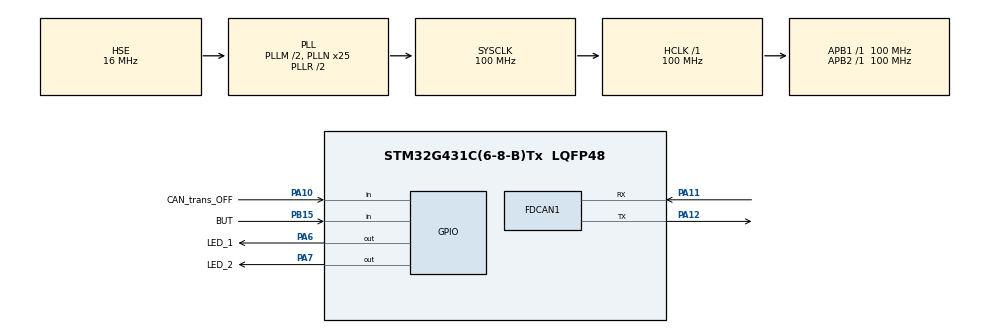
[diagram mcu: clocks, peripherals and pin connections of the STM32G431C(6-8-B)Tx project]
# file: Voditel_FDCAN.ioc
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FDCAN1.AutoRetransmission=ENABLE
FDCAN1.CalculateBaudRateNominal=500000
FDCAN1.CalculateTimeBitNominal=2000
FDCAN1.CalculateTimeQuantumNominal=20.0
FDCAN1.DataPrescaler=5
FDCAN1.DataSyncJumpWidth=2
FDCAN1.DataTimeSeg1=17
FDCAN1.DataTimeSeg2=2
FDCAN1.FrameFormat=FDCAN_FRAME_FD_NO_BRS
FDCAN1.NominalPrescaler=1
FDCAN1.NominalSyncJumpWidth=13
FDCAN1.NominalTimeSeg1=86
FDCAN1.NominalTimeSeg2=13
FDCAN1.StdFiltersNbr=1
FDCAN1.TxFifoQueueMode=FDCAN_TX_FIFO_OPERATION
Mcu.Family=STM32G4
Mcu.Name=STM32G431C(6-8-B)Tx
Mcu.Package=LQFP48
NVIC.FDCAN1_IT0_IRQn=true\:0\:0\:false\:false\:true\:true\:true\:true
NVIC.PriorityGroup=NVIC_PRIORITYGROUP_4
PA10.GPIO_Label=CAN_trans_OFF
PA10.GPIO_PuPd=GPIO_PULLDOWN
PA10.Signal=GPIO_Input
PA11.Mode=FDCAN_Activate
PA11.Signal=FDCAN1_RX
PA12.Mode=FDCAN_Activate
PA12.Signal=FDCAN1_TX
PA13.Mode=Serial_Wire
PA13.Signal=SYS_JTMS-SWDIO
PA14.Mode=Serial_Wire
PA14.Signal=SYS_JTCK-SWCLK
PA6.GPIO_Label=LED_1
PA6.Signal=GPIO_Output
PA7.GPIO_Label=LED_2
PA7.Signal=GPIO_Output
PB15.GPIO_Label=BUT
PB15.Signal=GPIO_Input
PF0-OSC_IN.Mode=HSE-External-Oscillator
PF0-OSC_IN.Signal=RCC_OSC_IN
PF1-OSC_OUT.Mode=HSE-External-Oscillator
PF1-OSC_OUT.Signal=RCC_OSC_OUT
ProjectManager.HeapSize=0x200
ProjectManager.StackSize=0x400
ProjectManager.TargetToolchain=STM32CubeIDE
RCC.ADC12Freq_Value=100000000
RCC.AHBFreq_Value=100000000
RCC.APB1Freq_Value=100000000
RCC.APB1TimFreq_Value=100000000
RCC.APB2Freq_Value=100000000
RCC.APB2TimFreq_Value=100000000
RCC.CortexFreq_Value=100000000
RCC.EXTERNAL_CLOCK_VALUE=12288000
RCC.FDCANCLockSelection=RCC_FDCANCLKSOURCE_PLL
RCC.HCLKFreq_Value=100000000
RCC.HSE_VALUE=16000000
RCC.HSI48_VALUE=48000000
RCC.HSI_VALUE=16000000
RCC.LSE_VALUE=32768
RCC.PLLM=RCC_PLLM_DIV2
RCC.PLLN=25
RCC.PLLQ=RCC_PLLQ_DIV4
RCC.PLLSourceVirtual=RCC_PLLSOURCE_HSE
RCC.SYSCLKFreq_VALUE=100000000
RCC.SYSCLKSource=RCC_SYSCLKSOURCE_PLLCLK
RCC.USBFreq_Value=50000000
RCC.VCOOutputFreq_Value=200000000
board=custom

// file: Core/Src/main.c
/* USER CODE BEGIN Header */
/**
  ******************************************************************************
  * @file           : main.c
  * @brief          : Main program body
  ******************************************************************************
  * @attention
  *
  * Copyright (c) 2024 STMicroelectronics.
  * All rights reserved.
  *
  * This software is licensed under terms that can be found in the LICENSE file
  * in the root directory of this software component.
  * If no LICENSE file comes with this software, it is provided AS-IS.
  *
  ******************************************************************************
  */
/* USER CODE END Header */
#include "main.h"

/* USER CODE BEGIN Includes */
#include "stdio.h"
/* USER CODE END Includes */

FDCAN_HandleTypeDef hfdcan1;

/* USER CODE BEGIN PV */

FDCAN_FilterTypeDef sFilterConfig;

FDCAN_TxHeaderTypeDef TxHeader;
FDCAN_RxHeaderTypeDef RxHeader;

uint8_t TxData_VODIL[] = {0x01, 0x03, 0x03, 0x03, 0x03, 0x03, 0x03, 0x03, 0x03};
uint8_t RxData_VODIL[8];

uint8_t errors_in_AddMessageToTx_VODIL = 0;

int indx = 0;

/* USER CODE END PV */

void SystemClock_Config(void);
static void MX_GPIO_Init(void);
static void MX_FDCAN1_Init(void);

/* USER CODE BEGIN 0 */

void HAL_FDCAN_RxFifo0Callback(FDCAN_HandleTypeDef *hfdcan, uint32_t RxFifo0ITs)
{
	if((RxFifo0ITs & FDCAN_IT_RX_FIFO0_NEW_MESSAGE) != RESET)
	{
		if(HAL_FDCAN_GetRxMessage(&hfdcan1, FDCAN_RX_FIFO0, &RxHeader, RxData_VODIL) != HAL_OK)
		{
					Error_Handler();
		}
		if(HAL_FDCAN_ActivateNotification(&hfdcan1, FDCAN_IT_RX_FIFO0_NEW_MESSAGE, 0) != HAL_OK)
		{
			Error_Handler();
		}

		HAL_GPIO_WritePin(LED_2_GPIO_Port, LED_2_Pin, 1);

		// только у пасажира
	 /* sprintf ((char *)TxData_VODIL, "FDCAN2TX  %d", indx++);

	  if(HAL_FDCAN_AddMessageToTxFifoQ(&hfdcan1, &TxHeader, TxData_VODIL) != HAL_OK)
	  {
		  Error_Handler();
	  }*/
	}

}
/* USER CODE END 0 */

int main(void)
{

  /* MCU Configuration--------------------------------------------------------*/

  /* Reset of all peripherals, Initializes the Flash interface and the Systick. */
  HAL_Init();

  /* Configure the system clock */
  SystemClock_Config();

  /* Initialize all configured peripherals */
  MX_GPIO_Init();
  MX_FDCAN1_Init();
  /* USER CODE BEGIN 2 */

  if(HAL_FDCAN_Start(&hfdcan1) != HAL_OK)
  {
	   Error_Handler();
  }

  if(HAL_FDCAN_ActivateNotification(&hfdcan1, FDCAN_IT_RX_FIFO0_NEW_MESSAGE, 0) != HAL_OK)
  {
	  Error_Handler();
  }

  TxHeader.Identifier = 0x11; //как я понял этот фильтр должен быть у втрой платы в sFilterConfig
  TxHeader.IdType = FDCAN_STANDARD_ID;
  TxHeader.TxFrameType = FDCAN_DATA_FRAME;
  TxHeader.DataLength = FDCAN_DLC_BYTES_8;
  TxHeader.ErrorStateIndicator = FDCAN_ESI_ACTIVE;
  TxHeader.BitRateSwitch = FDCAN_BRS_OFF;
  TxHeader.FDFormat = FDCAN_FD_CAN;
  TxHeader.TxEventFifoControl = FDCAN_NO_TX_EVENTS;
  TxHeader.MessageMarker = 0;

  if(HAL_FDCAN_AddMessageToTxFifoQ(&hfdcan1, &TxHeader, TxData_VODIL) != HAL_OK)
  {

	  errors_in_AddMessageToTx_VODIL ++;
	  //HAL_GPIO_WritePin(LED_2_GPIO_Port, LED_2_Pin, 1);

  }

  /* USER CODE END 2 */

  /* Infinite loop */
  while (1)
  {

    /* USER CODE BEGIN 3 */

	 // HAL_GPIO_WritePin(LED_1_GPIO_Port, LED_1_Pin, 0);

	 // sprintf ((char *)TxData_VODIL, "12345 %d", indx++);

	 // HAL_FDCAN_AddMessageToTxFifoQ(&hfdcan1, &TxHeader, TxData_VODIL);

	  HAL_Delay (600);

	  HAL_GPIO_TogglePin(LED_1_GPIO_Port, LED_1_Pin);

  }
  /* USER CODE END 3 */
}

void SystemClock_Config(void)
{
  RCC_OscInitTypeDef RCC_OscInitStruct = {0};
  RCC_ClkInitTypeDef RCC_ClkInitStruct = {0};

  /** Configure the main internal regulator output voltage
  */
  HAL_PWREx_ControlVoltageScaling(PWR_REGULATOR_VOLTAGE_SCALE1);

  /** Initializes the RCC Oscillators according to the specified parameters
  * in the RCC_OscInitTypeDef structure.
  */
  RCC_OscInitStruct.OscillatorType = RCC_OSCILLATORTYPE_HSE;
  RCC_OscInitStruct.HSEState = RCC_HSE_ON;
  RCC_OscInitStruct.PLL.PLLState = RCC_PLL_ON;
  RCC_OscInitStruct.PLL.PLLSource = RCC_PLLSOURCE_HSE;
  RCC_OscInitStruct.PLL.PLLM = RCC_PLLM_DIV2;
  RCC_OscInitStruct.PLL.PLLN = 25;
  RCC_OscInitStruct.PLL.PLLP = RCC_PLLP_DIV2;
  RCC_OscInitStruct.PLL.PLLQ = RCC_PLLQ_DIV4;
  RCC_OscInitStruct.PLL.PLLR = RCC_PLLR_DIV2;
  if (HAL_RCC_OscConfig(&RCC_OscInitStruct) != HAL_OK)
  {
    Error_Handler();
  }

  /** Initializes the CPU, AHB and APB buses clocks
  */
  RCC_ClkInitStruct.ClockType = RCC_CLOCKTYPE_HCLK|RCC_CLOCKTYPE_SYSCLK
                              |RCC_CLOCKTYPE_PCLK1|RCC_CLOCKTYPE_PCLK2;
  RCC_ClkInitStruct.SYSCLKSource = RCC_SYSCLKSOURCE_PLLCLK;
  RCC_ClkInitStruct.AHBCLKDivider = RCC_SYSCLK_DIV1;
  RCC_ClkInitStruct.APB1CLKDivider = RCC_HCLK_DIV1;
  RCC_ClkInitStruct.APB2CLKDivider = RCC_HCLK_DIV1;

  if (HAL_RCC_ClockConfig(&RCC_ClkInitStruct, FLASH_LATENCY_3) != HAL_OK)
  {
    Error_Handler();
  }
}

static void MX_FDCAN1_Init(void)
{

  hfdcan1.Instance = FDCAN1;
  hfdcan1.Init.ClockDivider = FDCAN_CLOCK_DIV1;
  hfdcan1.Init.FrameFormat = FDCAN_FRAME_FD_NO_BRS;
  hfdcan1.Init.Mode = FDCAN_MODE_NORMAL;
  hfdcan1.Init.AutoRetransmission = ENABLE;
  hfdcan1.Init.TransmitPause = DISABLE;
  hfdcan1.Init.ProtocolException = DISABLE;
  hfdcan1.Init.NominalPrescaler = 1;
  hfdcan1.Init.NominalSyncJumpWidth = 13;
  hfdcan1.Init.NominalTimeSeg1 = 86;
  hfdcan1.Init.NominalTimeSeg2 = 13;
  hfdcan1.Init.DataPrescaler = 5;
  hfdcan1.Init.DataSyncJumpWidth = 2;
  hfdcan1.Init.DataTimeSeg1 = 17;
  hfdcan1.Init.DataTimeSeg2 = 2;
  hfdcan1.Init.StdFiltersNbr = 1;
  hfdcan1.Init.ExtFiltersNbr = 0;
  hfdcan1.Init.TxFifoQueueMode = FDCAN_TX_FIFO_OPERATION;
  if (HAL_FDCAN_Init(&hfdcan1) != HAL_OK)
  {
    Error_Handler();
  }
  /* USER CODE BEGIN FDCAN1_Init 2 */

  sFilterConfig.IdType = FDCAN_STANDARD_ID;
  sFilterConfig.FilterIndex = 0;
  sFilterConfig.FilterType = FDCAN_FILTER_MASK;
  sFilterConfig.FilterConfig = FDCAN_FILTER_TO_RXFIFO0;
  sFilterConfig.FilterID1 = 0x22; //как я понял этот фильтр должен быть у втрой платы в TxHeader
  sFilterConfig.FilterID2 = 0x22; //
  if(HAL_FDCAN_ConfigFilter(&hfdcan1, &sFilterConfig) != HAL_OK)
  {
	  Error_Handler();
  }

  /* USER CODE END FDCAN1_Init 2 */

}

static void MX_GPIO_Init(void)
{
  GPIO_InitTypeDef GPIO_InitStruct = {0};

  /* GPIO Ports Clock Enable */
  __HAL_RCC_GPIOF_CLK_ENABLE();
  __HAL_RCC_GPIOA_CLK_ENABLE();
  __HAL_RCC_GPIOB_CLK_ENABLE();

  /*Configure GPIO pin Output Level */
  HAL_GPIO_WritePin(GPIOA, LED_1_Pin|LED_2_Pin, GPIO_PIN_RESET);

  /*Configure GPIO pins : LED_1_Pin LED_2_Pin */
  GPIO_InitStruct.Pin = LED_1_Pin|LED_2_Pin;
  GPIO_InitStruct.Mode = GPIO_MODE_OUTPUT_PP;
  GPIO_InitStruct.Pull = GPIO_NOPULL;
  GPIO_InitStruct.Speed = GPIO_SPEED_FREQ_LOW;
  HAL_GPIO_Init(GPIOA, &GPIO_InitStruct);

  /*Configure GPIO pin : BUT_Pin */
  GPIO_InitStruct.Pin = BUT_Pin;
  GPIO_InitStruct.Mode = GPIO_MODE_INPUT;
  GPIO_InitStruct.Pull = GPIO_NOPULL;
  HAL_GPIO_Init(BUT_GPIO_Port, &GPIO_InitStruct);

  /*Configure GPIO pin : CAN_trans_OFF_Pin */
  GPIO_InitStruct.Pin = CAN_trans_OFF_Pin;
  GPIO_InitStruct.Mode = GPIO_MODE_INPUT;
  GPIO_InitStruct.Pull = GPIO_PULLDOWN;
  HAL_GPIO_Init(CAN_trans_OFF_GPIO_Port, &GPIO_InitStruct);

}

void Error_Handler(void)
{
  /* USER CODE BEGIN Error_Handler_Debug */
  /* User can add his own implementation to report the HAL error return state */
  __disable_irq();
  while (1)
  {
	//  HAL_GPIO_WritePin(LED_2_GPIO_Port, LED_2_Pin, 1);

	 // HAL_GPIO_TogglePin(LED_2_GPIO_Port, LED_2_Pin);

  }
  /* USER CODE END Error_Handler_Debug */
}
